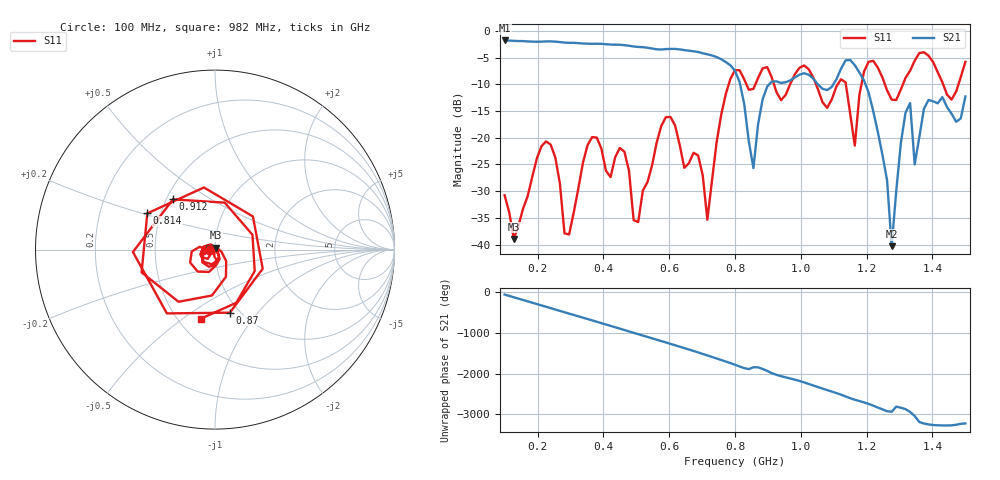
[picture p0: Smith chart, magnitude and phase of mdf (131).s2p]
! NanoVNA-App
! Date: 2025-09-25 15:39:26
! Start: 100MHz Stop: 1,5GHz Points: 101
! S-Parameter data: F S11 S21 S12 S22
# Hz S RI R 50
!  Frequency  S11_Real  S11_Imag  S21_Real  S21_Imag  S12_Real  S12_Imag  S22_Real  S22_Imag
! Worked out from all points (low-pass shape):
!   101 points, 100 MHz to 1.5 GHz, reference 50 ohm
!   highest |S21| = -1.80 dB at 100 MHz (marker M1); lowest = -40.3 dB at 1.276 GHz (marker M2)
!   |S21| within 3 dB of the highest: start of sweep to 739.1 MHz
!   lowest |S11| = -38.9 dB at 128 MHz (marker M3), VSWR 1.02, Z = 50.3 + j1.08 ohm
!   |S11| at or under -10 dB: start of sweep to 781.1 MHz; 1.046 GHz to 1.112 GHz (66.5 MHz wide, 6.16 % of centre); 1.255 GHz to 1.31 GHz (54.95 MHz wide, 4.28 % of centre) (the widest 3 of 7)
!   S12 and S22 are empty: the file has one direction only
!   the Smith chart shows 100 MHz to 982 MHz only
!   S11 on the Smith chart (normalised r, x): 100 MHz: 0.94, -0.01; 814 MHz: 0.42, +0.21; 870 MHz: 0.90, -0.73; 912 MHz: 0.54, +0.35; 982 MHz: 0.64, -0.59
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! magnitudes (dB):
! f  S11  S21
! 100 MHz  -30.8  -1.8
! 128 MHz  -38.9  -1.9
! 212 MHz  -21.6  -2.0
! 282 MHz  -37.9  -2.2
! 338 MHz  -24.7  -2.4
! 464 MHz  -22.6  -2.7
! 506 MHz  -35.8  -3.0
! 576 MHz  -17.8  -3.5
! 716 MHz  -35.4  -4.4
! 800 MHz  -7.4  -7.5
! 814 MHz  -7.4  -9.6
! 856 MHz  -10.9  -25.7
! 870 MHz  -8.8  -17.5
! 912 MHz  -8.8  -9.5
! 982 MHz  -8.1  -8.7
! 1.038 GHz  -8.8  -9.0
! 1.164 GHz  -21.5  -6.4
! 1.192 GHz  -7.6  -9.3
! 1.276 GHz  -12.9  -40.3
! 1.332 GHz  -7.5  -13.5
! 1.346 GHz  -5.6  -25.0
! 1.5 GHz  -5.8  -12.3
